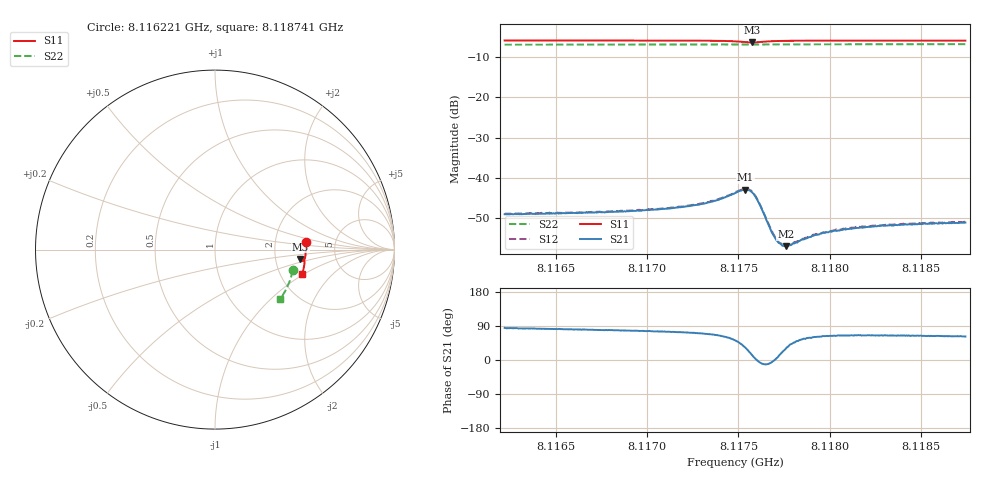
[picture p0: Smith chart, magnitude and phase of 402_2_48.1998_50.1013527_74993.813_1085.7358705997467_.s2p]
#  HZ  S  RI  R  50.00
! Rohde & Schwarz Vector Network Analyzer
! Rohde-Schwarz,ZNB20-2Port,1311601062101988,3.16
! Created: UTC 3/20/2024, 11:54:04 AM
! freq[Hz]  re:S11  im:S11  re:S21  im:S21  re:S12  im:S12  re:S22  im:S22
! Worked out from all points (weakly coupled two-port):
!   401 points, 8.116221 GHz to 8.118741 GHz, reference 50 ohm
!   highest |S21| = -42.89 dB at 8.117538 GHz (marker M1); lowest = -56.9 dB at 8.117758 GHz (marker M2)
!   lowest |S11| = -6.4 dB at 8.117576 GHz (marker M3), VSWR 2.84, Z = 139 - j19 ohm
!   |S11| at or under -10 dB: nowhere
!   |S22| runs from -6.9 to -6.8 dB; largest |S21 - S12| = 0.00019
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8.1162209e9  0.5053 0.0419  0.000316 0.00353  0.000389 0.00355  0.434 -0.1162
8.1166431e9  0.5064 0.00994  0.000638 0.00361  0.000717 0.00367  0.4266 -0.1446
8.1170653e9  0.5049 -0.0231  0.00104 0.00393  0.00106 0.00399  0.4172 -0.1724
8.1171976e9  0.5036 -0.0339  0.00128 0.00419  0.00131 0.00421  0.414 -0.1811
8.1173299e9  0.5012 -0.046  0.00179 0.0046  0.00185 0.00466  0.4105 -0.1897
8.1173992e9  0.4984 -0.053  0.00238 0.0049  0.00246 0.00499  0.4084 -0.1944
8.1174811e9  0.4908 -0.0611  0.00397 0.00511  0.00411 0.00516  0.4058 -0.1995
8.1175379e9  0.4801 -0.0608  0.00605 0.00385  0.00617 0.00387  0.4038 -0.2027
8.1175568e9  0.4769 -0.0573  0.00649 0.00272  0.00665 0.00272  0.4033 -0.2039
8.1175757e9  0.4762 -0.0527  0.00643 0.00142  0.00657 0.00138  0.4027 -0.2047
8.1175946e9  0.4783 -0.0484  0.00577 0.000233  0.00589 0.000213  0.4023 -0.2056
8.1176135e9  0.4822 -0.0459  0.00479 -0.00045  0.00488 -0.00049  0.4021 -0.2067
8.1176765e9  0.4933 -0.0494  0.00224 -0.000305  0.00233 -0.000341  0.4007 -0.2108
8.1177017e9  0.4956 -0.0525  0.00178 3.86e-05  0.00181 -4.92e-07  0.4 -0.2124
8.1177332e9  0.4973 -0.0564  0.00143 0.000444  0.00148 0.000432  0.3991 -0.2146
8.1177584e9  0.4981 -0.0594  0.00124 0.000703  0.00127 0.000719  0.3985 -0.2162
8.1177899e9  0.4987 -0.0629  0.00109 0.00099  0.00114 0.00101  0.3974 -0.2182
8.1179033e9  0.4986 -0.074  0.000967 0.00164  0.000979 0.00165  0.3938 -0.2256
8.1180357e9  0.4974 -0.0853  0.000974 0.00197  0.00101 0.00207  0.3894 -0.2336
8.1181869e9  0.4953 -0.0973  0.00103 0.0022  0.00108 0.00222  0.3842 -0.243
8.1183255e9  0.4931 -0.1079  0.00111 0.00232  0.00117 0.00238  0.3794 -0.2514
8.1187414e9  0.4852 -0.1385  0.0013 0.00246  0.00134 0.0025  0.3634 -0.2758
